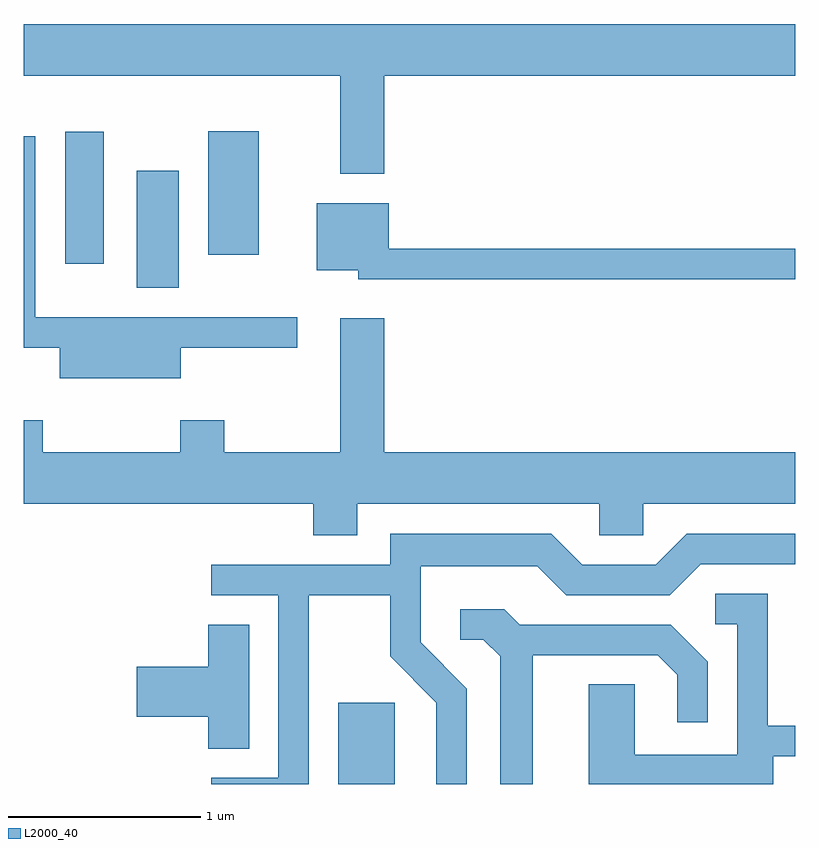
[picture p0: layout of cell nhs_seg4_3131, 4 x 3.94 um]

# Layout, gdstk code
import gdstk
lib = gdstk.Library(unit=1e-6, precision=1e-09)
def R(c, l, rs):  # rectangles x0, y0, x1, y1
    for r in rs: c.add(gdstk.rectangle(r[:2], r[2:], *l))
def P(c, l, *ps):  # polygons
    for p in ps: c.add(gdstk.Polygon(p, *l))
L2000_40 = (2000, 40)

nhs_seg4_3131 = lib.new_cell('nhs_seg4_3131')
R(nhs_seg4_3131, L2000_40, [(279.241,1259.982,279.534,1260.404), (278.196,1262.556,278.414,1263.164), (277.826,1262.681,278.024,1263.364), (278.566,1262.726,278.829,1263.369)])
P(nhs_seg4_3131, L2000_40, [(279.479,1263.656),(281.611,1263.656),(281.611,1263.924),(277.611,1263.924),(277.611,1263.656),(279.251,1263.656),(279.251,1263.146),(279.479,1263.146)],
  [(278.424,1262.246),(279.028,1262.246),(279.028,1262.404),(277.669,1262.404),(277.669,1263.343),(277.611,1263.343),(277.611,1262.246),(277.796,1262.246),(277.796,1262.086),(278.424,1262.086)],
  [(281.611,1262.759),(279.504,1262.759),(279.504,1262.994),(279.131,1262.994),(279.131,1262.646),(279.346,1262.646),(279.346,1262.601),(281.611,1262.601)],
  [(279.339,1261.436),(280.596,1261.436),(280.596,1261.271),(280.824,1261.271),(280.824,1261.436),(281.611,1261.436),(281.611,1261.704),(279.479,1261.704),(279.479,1262.399),(279.251,1262.399),(279.251,1261.704),(278.649,1261.704),(278.649,1261.869),(278.421,1261.869),(278.421,1261.704),(277.709,1261.704),(277.709,1261.869),(277.611,1261.869),(277.611,1261.436),(279.111,1261.436),(279.111,1261.271),(279.339,1261.271)],
  [(279.089,1260.961),(279.511,1260.961),(279.511,1260.644),(279.751,1260.404),(279.751,1259.982),(279.909,1259.982),(279.909,1260.477),(279.669,1260.717),(279.669,1261.111),(280.274,1261.111),(280.424,1260.961),(280.962,1260.961),(281.122,1261.121),(281.611,1261.121),(281.611,1261.279),(281.049,1261.279),(280.889,1261.119),(280.507,1261.119),(280.347,1261.279),(279.511,1261.279),(279.511,1261.119),(278.583,1261.119),(278.583,1260.961),(278.931,1260.961),(278.931,1260.014),(278.583,1260.014),(278.583,1259.982),(279.089,1259.982)],
  [(281.499,1260.126),(281.611,1260.126),(281.611,1260.284),(281.469,1260.284),(281.469,1260.969),(281.198,1260.969),(281.198,1260.811),(281.311,1260.811),(281.311,1260.134),(280.779,1260.134),(280.779,1260.499),(280.541,1260.499),(280.541,1259.982),(281.499,1259.982)],
  [(280.249,1260.651),(280.899,1260.651),(281.001,1260.549),(281.001,1260.303),(281.159,1260.303),(281.159,1260.617),(280.967,1260.809),(280.182,1260.809),(280.102,1260.889),(279.873,1260.889),(279.873,1260.731),(279.994,1260.731),(280.081,1260.644),(280.081,1259.982),(280.249,1259.982)],
  [(278.779,1260.809),(278.566,1260.809),(278.566,1260.589),(278.196,1260.589),(278.196,1260.331),(278.566,1260.331),(278.566,1260.166),(278.779,1260.166)])

lib.write_gds('nhs_seg4_3131.gds')
